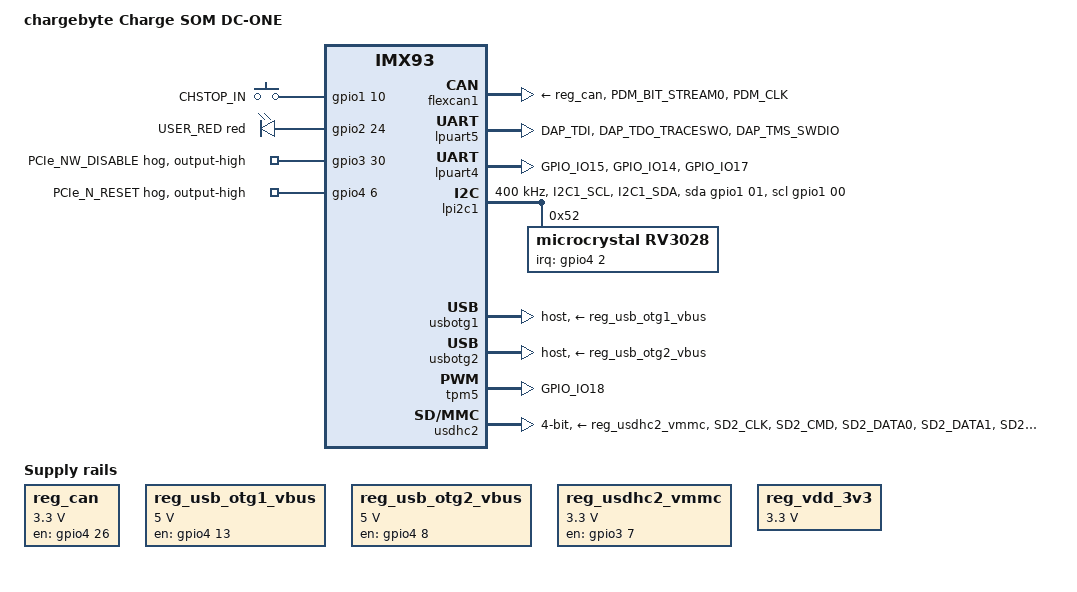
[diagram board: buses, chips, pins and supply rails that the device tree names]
// SPDX-License-Identifier: (GPL-2.0+ OR MIT)
/*
 * Copyright (C) 2024 PHYTEC Messtechnik GmbH
 * Author: Felix Siebel <f.siebel@phytec.de>
 *
 */

/dts-v1/;

#include <dt-bindings/leds/common.h>
#include "imx93-phycore-som.dtsi"
#include "imx93-charge-som.dtsi"

/ {
	model = "chargebyte Charge SOM DC-ONE";
	compatible = "chargebyte,imx93-charge-som-dc-evb", "chargebyte,imx93-charge-som", 
		     "phytec,imx93-phycore-som", "fsl,imx93";
	
	aliases {
		rtc0 = &rv3028;
		rtc1 = &bbnsm_rtc;
	};

	reg_can: regulator-can {
		compatible = "regulator-fixed";
		gpio = <&gpio4 26 GPIO_ACTIVE_HIGH>;
		enable-active-high;
		pinctrl-names = "default";
		pinctrl-0 = <&pinctrl_flexcan1_en>;
		regulator-max-microvolt = <3300000>;
		regulator-min-microvolt = <3300000>;
		regulator-name = "CAN_EN";
	};

	reg_usb_otg1_vbus: regulator-usb-otg1-vbus {
		pinctrl-names = "default";
		pinctrl-0 = <&pinctrl_usbotg1grp>;
		compatible = "regulator-fixed";
		regulator-name = "usb_otg1_vbus";
		regulator-min-microvolt = <5000000>;
		regulator-max-microvolt = <5000000>;
		gpio = <&gpio4 13 GPIO_ACTIVE_HIGH>;
		enable-active-high;
		regulator-boot-on;
	};

	reg_usb_otg2_vbus: regulator-usb-otg2-vbus {
		pinctrl-names = "default";
		pinctrl-0 = <&pinctrl_usbotg2grp>;
		compatible = "regulator-fixed";
		regulator-name = "usb_otg2_vbus";
		regulator-min-microvolt = <5000000>;
		regulator-max-microvolt = <5000000>;
		gpio = <&gpio4 8 GPIO_ACTIVE_HIGH>;
		enable-active-high;
		regulator-boot-on;
	};
	
	reg_usdhc2_vmmc: regulator-usdhc2 {
		compatible = "regulator-fixed";
		gpio = <&gpio3 7 GPIO_ACTIVE_HIGH>;
		enable-active-high;
		pinctrl-names = "default";
		pinctrl-0 = <&pinctrl_reg_usdhc2_vmmc>;
		regulator-max-microvolt = <3300000>;
		regulator-min-microvolt = <3300000>;
		regulator-name = "VCC_SD";
	};

	reg_vdd_3v3: regulator-vdd-3v3 {
		compatible = "regulator-fixed";
		regulator-max-microvolt = <3300000>;
		regulator-min-microvolt = <3300000>;
		regulator-name = "VDD_IO_3V3";
	};

	user_keys: gpio-keys {
		compatible = "gpio-keys";
		pinctrl-names = "default";
		pinctrl-0 = <&pinctrl_gpiokeys>;

		CHSTOP_IN {
			label = "CHSTOP_IN";
			gpios = <&gpio1 10 GPIO_ACTIVE_HIGH>;
			linux,code = <108>;
		};
	};
	
	user_leds: user-leds {
		compatible = "gpio-leds";
		pinctrl-names = "default";
		pinctrl-0 = <&pinctrl_user_leds>;
		
		USER_RED {
			color = <LED_COLOR_ID_RED>;
			function = LED_FUNCTION_BOOT;
			gpios = <&gpio2 24 GPIO_ACTIVE_HIGH>;
			linux,default-trigger = "timer";
		};
	};

	// Avoid conflict with Heartbeat LED on phyCore
	/delete-node/ leds;
};

/* S2 Power */
&bbnsm_pwrkey {
	linux,keycode = <KEY_POWER>;
	wakeup-source;
};

/* X16 CAN1 */
&flexcan1 {
	pinctrl-names = "default";
	pinctrl-0 = <&pinctrl_flexcan1>;
	xceiver-supply = <&reg_can>;
	status = "okay";
};

/* X13 RS485_2 */
&lpuart5 {
	pinctrl-names = "default";
	pinctrl-0 = <&pinctrl_uart5>;
	rs485-rts-active-high;
	linux,rs485-enabled-at-boot-time;
	status = "okay";
};

/* X15 RS485_1 */
&lpuart4 {
	pinctrl-names = "default";
	pinctrl-0 = <&pinctrl_uart4>;
	rs485-rts-active-high;
	linux,rs485-enabled-at-boot-time;
	status = "okay";
};

&lpi2c1 {
	clock-frequency = <400000>;
	pinctrl-names = "default", "gpio";
	pinctrl-0 = <&pinctrl_lpi2c1>;
	pinctrl-1 = <&pinctrl_lpi2c1_gpio>;
	scl-gpios = <&gpio1 00 (GPIO_ACTIVE_HIGH | GPIO_OPEN_DRAIN)>;
	sda-gpios = <&gpio1 01 (GPIO_ACTIVE_HIGH | GPIO_OPEN_DRAIN)>;
	#address-cells = <1>;
	#size-cells = <0>;
	status = "okay";
	
	rv3028: rtc@52 {
		compatible = "microcrystal,rv3028";
		interrupts = <2 IRQ_TYPE_LEVEL_LOW>;
		interrupt-parent = <&gpio4>;
		wakeup-source;
		trickle-resistor-ohms = <3000>;
		pinctrl-names = "default";
		pinctrl-0 = <&pinctrl_rtc>;
		reg = <0x52>;
	};
};

/* USB1 goes directly to the lower X17 port */
&usbotg1 {
	vbus-supply = <&reg_usb_otg1_vbus>;
	over-current-active-low;
	dr_mode = "host";
	status = "okay";
};

/* USB2 is connected to a USB 2.0 4 port hub, which is connected to:
 *   - upper X17 port
 *   - X25 USB touch hub
 *   - X29 mini PCIe
 */
&usbotg2 {
	vbus-supply = <&reg_usb_otg2_vbus>;
	disable-over-current;
	dr_mode = "host";
	status = "okay";
};

&gpio1 {
	// 16 pins (0..15)
	gpio-line-names = "", "", "", "", "", "", "", "", "", "", \
			  "CHSTOP_IN", "SPI_TPM_nCS0", "", "", "", "";
};

&gpio2 {
	// 30 pins (0..29)
	gpio-line-names = "SPI_PLC_nCS0", "", "", "", "", "", "", "", "", "", \
			  "", "", "", "", "", "", "", "", "BACKLIGHT_PWM", "", \
			  "", "X11_I2C5_SDA", "X11_I2C5_SCL", "", "USER_RED", "", "", "", "", "";
};

&gpio3 {
	pinctrl-names = "default";
	pinctrl-0 = <&pinctrl_gpio3>, <&pinctrl_hog3>;
	// 32 pins (0..31)
	gpio-line-names = "SD2_nCD", "", "", "", "", "", "", "SD2_nRESET", "", "", \
			  "", "", "", "", "", "", "", "", "", "", \
			  "", "", "", "", "", "", "SPI_PLC_nINT0", "nPLC_RESET_INT", "", "", \
			  "PCIe_NW_DISABLE", "";

	PCIe_NW_DISABLE {
		gpio-hog;
		gpios = <30 GPIO_ACTIVE_HIGH>;
		output-high;
	};
};

&gpio4 {
	pinctrl-names = "default";
	pinctrl-0 = <&pinctrl_gpio4>, <&pinctrl_hog4>, <&pinctrl_ws2812b>, <&pinctrl_x11>;
	// 30 pins (0..29)
	gpio-line-names = "USB1_ID", "", "RTC_nINT", "USB2_OC", "USB1_OC", "", "PCIe_N_RESET", "DL_REQ_INTR_SPI", "USB2_PWREN", "X11_GPIO4_9", \
			  "", "WS2812B", "SAFETY_BOOTMODE_SET", "USB1_PWREN_GPIO", "", "DISPLAY_EN", "", "", "", "", \
			  "", "SOM_EEPROM_WP", "", "", "", "", "CAN1_EN", "PMIC_IRQ_B", "nSAFETY_RESET_INT", "SPI_TPM_nINT0";

	PCIe_N_RESET {
		gpio-hog;
		gpios = <6 GPIO_ACTIVE_HIGH>;
		output-high;
	};
};

&tpm5 {
	pinctrl-names = "default";
	pinctrl-0 = <&pinctrl_backlight>;
	status = "okay";
};

/* X27 microSD */
&usdhc2 {
	pinctrl-names = "default", "state_100mhz", "state_200mhz";
	pinctrl-0 = <&pinctrl_usdhc2_default>, <&pinctrl_usdhc2_cd>;
	pinctrl-1 = <&pinctrl_usdhc2_100mhz>, <&pinctrl_usdhc2_cd>;
	pinctrl-2 = <&pinctrl_usdhc2_200mhz>, <&pinctrl_usdhc2_cd>;
	cd-gpios = <&gpio3 00 GPIO_ACTIVE_LOW>;
	vmmc-supply = <&reg_usdhc2_vmmc>;
	bus-width = <4>;
	disable-wp;
	no-sdio;
	no-mmc;
	status = "okay";
};

&iomuxc {

	/delete-node/ pinctrl_leds;
	
	pinctrl_reg_usdhc2_vmmc: regusdhc2vmmcgrp {
		fsl,pins = <
			MX93_PAD_SD2_RESET_B__GPIO3_IO07	0x31e
		>;
	};

	pinctrl_usdhc2_cd: usdhc2cdgrp {
		fsl,pins = <
			MX93_PAD_SD2_CD_B__GPIO3_IO00		0x31e
		>;
	};

	/* need to config the SION for data and cmd pad, refer to ERR052021 */
	pinctrl_usdhc2_default: usdhc2grp {
		fsl,pins = <
			MX93_PAD_SD2_CLK__USDHC2_CLK		0x179e
			MX93_PAD_SD2_CMD__USDHC2_CMD		0x4000139e
			MX93_PAD_SD2_DATA0__USDHC2_DATA0	0x4000138e
			MX93_PAD_SD2_DATA1__USDHC2_DATA1	0x4000138e
			MX93_PAD_SD2_DATA2__USDHC2_DATA2	0x4000138e
			MX93_PAD_SD2_DATA3__USDHC2_DATA3	0x4000139e
			MX93_PAD_SD2_VSELECT__USDHC2_VSELECT	0x51e
		>;
	};

	/* need to config the SION for data and cmd pad, refer to ERR052021 */
	pinctrl_usdhc2_100mhz: usdhc2-100mhzgrp {
		fsl,pins = <
			MX93_PAD_SD2_CLK__USDHC2_CLK            0x179e
			MX93_PAD_SD2_CMD__USDHC2_CMD            0x4000139e
			MX93_PAD_SD2_DATA0__USDHC2_DATA0        0x4000138e
			MX93_PAD_SD2_DATA1__USDHC2_DATA1        0x4000138e
			MX93_PAD_SD2_DATA2__USDHC2_DATA2        0x4000139e
			MX93_PAD_SD2_DATA3__USDHC2_DATA3        0x4000139e
			MX93_PAD_SD2_VSELECT__USDHC2_VSELECT    0x51e
		>;
	};

	/* need to config the SION for data and cmd pad, refer to ERR052021 */
	pinctrl_usdhc2_200mhz: usdhc2-200mhzgrp {
		fsl,pins = <
			MX93_PAD_SD2_CLK__USDHC2_CLK            0x178e
			MX93_PAD_SD2_CMD__USDHC2_CMD            0x4000139e
			MX93_PAD_SD2_DATA0__USDHC2_DATA0        0x4000139e
			MX93_PAD_SD2_DATA1__USDHC2_DATA1        0x4000139e
			MX93_PAD_SD2_DATA2__USDHC2_DATA2        0x4000139e
			MX93_PAD_SD2_DATA3__USDHC2_DATA3        0x4000139e
			MX93_PAD_SD2_VSELECT__USDHC2_VSELECT    0x51e
		>;
	};
	
	pinctrl_lpi2c1: lpi2c1grp {
		fsl,pins = <
			MX93_PAD_I2C1_SCL__LPI2C1_SCL		0x40000b9e
			MX93_PAD_I2C1_SDA__LPI2C1_SDA		0x40000b9e
		>;
	};

	pinctrl_lpi2c1_gpio: lpi2c1gpiogrp {
		fsl,pins = <
			MX93_PAD_I2C1_SCL__GPIO1_IO00		0x40000b9e
			MX93_PAD_I2C1_SDA__GPIO1_IO01		0x40000b9e
		>;
	};

	pinctrl_gpiokeys: keygrp {
		fsl,pins = <
			MX93_PAD_PDM_BIT_STREAM1__GPIO1_IO10	0x31e // CHSTOP_IN
		>;
	};

	pinctrl_usbotg1grp: usb1grp {
		fsl,pins = <
			MX93_PAD_ENET1_TD1__HSIOMIX_OTG_OC1	0x31e
			MX93_PAD_ENET1_RD3__GPIO4_IO13		0x31e // USB1_PWREN_GPIO
			// MX93_PAD_ENET1_MDIO__HSIOMIX_OTG_PWR1 not connected
		>;
	};

	pinctrl_usbotg2grp: usb2grp {
		fsl,pins = <
			MX93_PAD_ENET1_TD2__HSIOMIX_OTG_OC2	0x31e // unused
			MX93_PAD_ENET1_RX_CTL__GPIO4_IO08	0x31e // USB2_PWREN
		>;
	};
	
	pinctrl_user_leds: userledgrp {
		fsl,pins = <
			MX93_PAD_GPIO_IO24__GPIO2_IO24		0x31e // USER_RED
		>;
	};
	
	pinctrl_hog3: hog3grp {
		fsl,pins = <
			MX93_PAD_DAP_TCLK_SWCLK__GPIO3_IO30	0x31e // PCIe_NW_DISABLE
		>;
	};
	
	pinctrl_hog4: hog4grp {
		fsl,pins = <
			MX93_PAD_ENET1_TX_CTL__GPIO4_IO06	0x31e // PCIe_N_RESET
		>;
	};
	
	pinctrl_rtc: rtcgrp {
		fsl,pins = <
			MX93_PAD_ENET1_TD3__GPIO4_IO02		0x31e // RTC_nINT
		>;
	};

	pinctrl_flexcan1: flexcan1grp {
		fsl,pins = <
			MX93_PAD_PDM_BIT_STREAM0__CAN1_RX	0x139e
			MX93_PAD_PDM_CLK__CAN1_TX		0x139e
		>;
	};

	pinctrl_flexcan1_en: flexcan1engrp {
		fsl,pins = <
			MX93_PAD_ENET2_RD2__GPIO4_IO26		0x31e // CAN1_EN
		>;
	};
	
	pinctrl_uart4: uart4grp {
		fsl,pins = <
			MX93_PAD_GPIO_IO15__LPUART4_RX		0x31e
			MX93_PAD_GPIO_IO14__LPUART4_TX		0x30e
			MX93_PAD_GPIO_IO17__LPUART4_RTS_B	0x31e
		>;
	};
	
	pinctrl_uart5: uart5grp {
		fsl,pins = <
			MX93_PAD_DAP_TDI__LPUART5_RX		0x31e
			MX93_PAD_DAP_TDO_TRACESWO__LPUART5_TX	0x30e
			MX93_PAD_DAP_TMS_SWDIO__LPUART5_RTS_B	0x31e
		>;
	};

	pinctrl_ws2812b: ws2812b {
		fsl,pins = <
			MX93_PAD_ENET1_RD1__GPIO4_IO11		0x31e // WS2812B
		>;
	};

	pinctrl_x11: x11grp {
		fsl,pins = <
			MX93_PAD_ENET1_RXC__GPIO4_IO09		0x31e // X11_GPIO4_9
		>;
	};

	pinctrl_backlight: backlight_grp {
		fsl,pins = <
			MX93_PAD_GPIO_IO18__TPM5_CH2		0x31e // BACKLIGHT_PWM
		>;
	};
};
